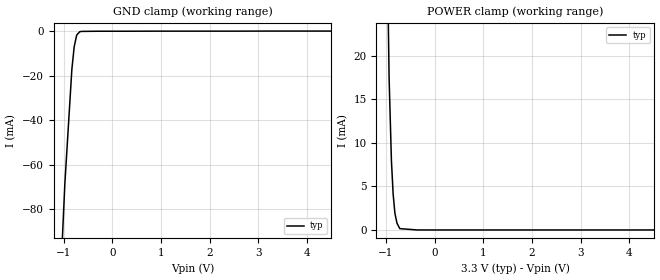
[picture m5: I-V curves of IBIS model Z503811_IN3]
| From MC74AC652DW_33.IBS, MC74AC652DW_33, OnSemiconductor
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| (C) COPYRIGHT 1993-2000
| MENTOR GRAPHICS CORPORATION
| ICX STANDARD LIBRARY, ICX PROJECT MODELING,
| ICX CUSTOM MODELING, ICX VENDOR MODEL
| ALL RIGHTS RESERVED.
| THE FOLLOWING ARE TRADEMARKS OR SERVICE MARKS OF
| MENTOR GRAPHICS CORPORATION:ICX (R), ICX STANDARD
| LIBRARY(R), ICX PROJECT MODELING(R), ICX CUSTOM
| MODELING(R), qualityIBIS(TM), MODELVIEWER(TM),
| AND MODELEDITOR(TM)
| ALL COPIES OF SOFTWARE, INCLUDING BUT NOT LIMITED TO
| ANY MODIFICATIONS, ENHANCEMENTS OR DERIVATIVE WORKS,
| MUST CONTAIN ALL MENTOR GRAPHICS CORPORATION'S
| NOTICES AND LEGENDS, INCLUDING THOSE EMBEDDED IN
| SOFTWARE AND THOSE AFFIXED TO SOFTWARE MEDIUM
| AND CONTAINER, AS RECEIVED FROM MENTOR GRAPHICS
| CORPORATION.
| Model Application Version 1.89 2/18/99.
[Model] Z503811_IN3
Model_type Input
Vinl = 990.0mV
Vinh = 2.310V
C_comp 4.000pF NA NA
| variable typ   min   max
[Voltage Range] 3.300V NA NA
[GND Clamp Reference] 0.000V NA NA
[POWER Clamp Reference] 3.300V NA NA
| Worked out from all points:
|   GND clamp passes 1 mA (typ) near -0.70 V on its own axis
|   POWER clamp passes 1 mA (typ) near -0.78 V on its own axis
[GND Clamp]
-3.3V     -1.64A     NA         NA
-1.041V   -101.5mA   NA         NA
-973.8mV  -68.79mA   NA         NA
-829.8mV  -17.21mA   NA         NA
-781.6mV  -6.914mA   NA         NA
-730.1mV  -1.659mA   NA         NA
-667.2mV  -162.7uA   NA         NA
6.6V      129.8uA    NA         NA
[POWER Clamp]
-3.3V     1.858A     NA         NA
-1.121V   108.6mA    NA         NA
-1.037V   56.89mA    NA         NA
-938mV    17.54mA    NA         NA
-890mV    7.986mA    NA         NA
-855mV    4.15mA     NA         NA
-818mV    1.906mA    NA         NA
-775mV    768uA      NA         NA
-718mV    155uA      NA         NA
-359mV    0A         NA         NA
6.6V      0A         NA         NA
